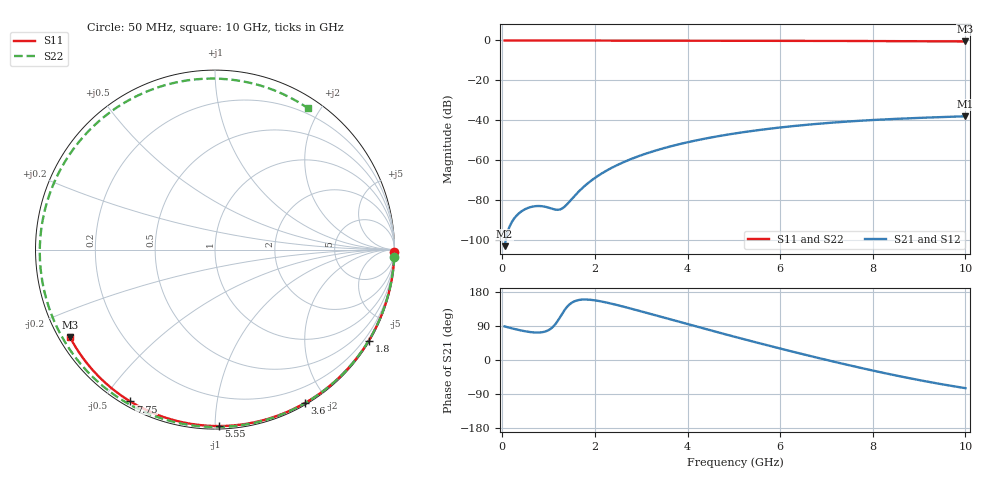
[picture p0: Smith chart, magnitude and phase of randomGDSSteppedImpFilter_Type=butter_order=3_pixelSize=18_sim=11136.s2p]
! freq	dB(S11)	phase(S11)	dB(S12)	phase(S12)
!  dB(S21)	phase(S21)	dB(S22)	phase(S22)
!S-par simulation data
#  GHz  S  DB  R 50
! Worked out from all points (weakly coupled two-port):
!   200 points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, 50 MHz to 10 GHz, reference 50 ohm
!   highest |S21| = -37.90 dB at 10 GHz (marker M1); lowest = -102.9 dB at 50 MHz (marker M2)
!   lowest |S11| = -0.5 dB at 10 GHz (marker M3), VSWR 34.62, Z = 1.56 - j13.9 ohm
!   |S11| at or under -10 dB: nowhere
!   |S22| runs from -0.5 to 0.0 dB; largest |S21 - S12| = 0
!   S11 on the Smith chart (normalised r, x): 50 MHz: open; 1.8 GHz: 0.03, -3.65; 3.6 GHz: 0.02, -1.74; 5.55 GHz: 0.02, -1.02; 7.75 GHz: 0.02, -0.59; 10 GHz: 0.03, -0.28
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0.05  -0.00 -0.9  -102.86 88.5  -102.86 88.5  -0.00 -2.4
0.35  -0.01 -6.0  -86.63 79.4  -86.63 79.4  -0.02 -16.4
0.65  -0.01 -11.2  -83.09 73.0  -83.09 73.0  -0.04 -30.1
1.05  -0.02 -18.0  -83.95 82.8  -83.95 82.8  -0.06 -47.9
1.45  -0.03 -24.8  -80.60 146.6  -80.60 146.6  -0.08 -64.7
1.5  -0.03 -25.6  -79.29 151.2  -79.29 151.2  -0.08 -66.7
1.75  -0.04 -29.8  -73.34 159.6  -73.34 159.6  -0.09 -76.7
1.8  -0.04 -30.6  -72.32 159.7  -72.32 159.7  -0.09 -78.6
2.1  -0.05 -35.6  -67.19 155.4  -67.19 155.4  -0.10 -89.8
2.45  -0.05 -41.3  -62.67 145.9  -62.67 145.9  -0.11 -102.2
2.9  -0.06 -48.6  -58.23 131.6  -58.23 131.6  -0.13 -117.0
3.4  -0.07 -56.6  -54.44 114.9  -54.44 114.9  -0.14 -132.3
3.6  -0.08 -59.7  -53.16 108.2  -53.16 108.2  -0.15 -138.1
4.3  -0.10 -70.4  -49.44 84.7  -49.44 84.7  -0.17 -157.3
5.05  -0.13 -81.6  -46.40 60.2  -46.40 60.2  -0.20 -176.4
5.55  -0.15 -88.8  -44.77 44.3  -44.77 44.3  -0.23 171.2
6.1  -0.17 -96.6  -43.26 27.2  -43.26 27.2  -0.25 157.8
6.7  -0.20 -105.0  -41.90 9.0  -41.90 9.0  -0.29 143.3
7.75  -0.28 -119.1  -40.11 -21.1  -40.11 -21.1  -0.35 117.2
8.35  -0.33 -127.1  -39.37 -37.0  -39.37 -37.0  -0.39 101.8
9.2  -0.41 -138.3  -38.55 -57.6  -38.55 -57.6  -0.45 79.0
10  -0.50 -148.8  -37.90 -74.3  -37.90 -74.3  -0.51 56.6
